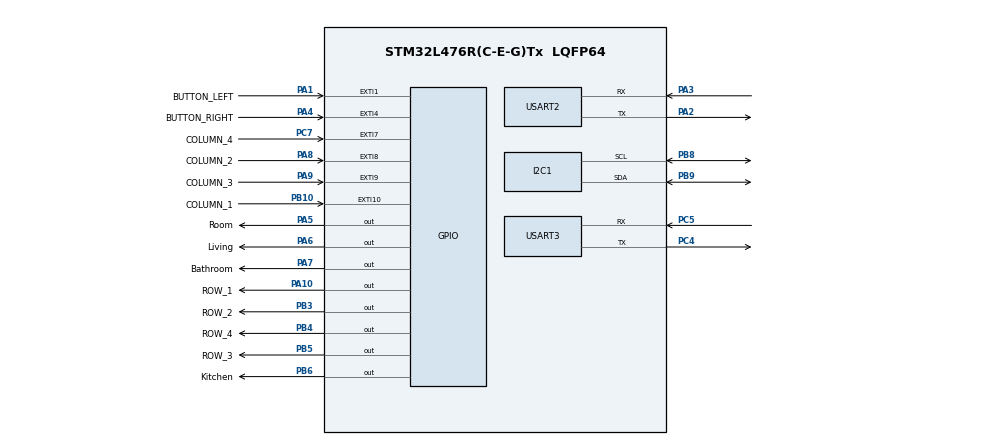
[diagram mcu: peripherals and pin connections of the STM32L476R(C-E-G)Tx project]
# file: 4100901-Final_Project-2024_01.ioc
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Mcu.Family=STM32L4
Mcu.Name=STM32L476R(C-E-G)Tx
Mcu.Package=LQFP64
NVIC.EXTI15_10_IRQn=true\:0\:0\:false\:false\:true\:true\:true\:true
NVIC.EXTI1_IRQn=true\:0\:0\:false\:false\:true\:true\:true\:true
NVIC.EXTI4_IRQn=true\:0\:0\:false\:false\:true\:true\:true\:true
NVIC.EXTI9_5_IRQn=true\:0\:0\:false\:false\:true\:true\:true\:true
NVIC.PriorityGroup=NVIC_PRIORITYGROUP_4
NVIC.USART2_IRQn=true\:0\:0\:false\:false\:true\:true\:true\:true
NVIC.USART3_IRQn=true\:0\:0\:false\:false\:true\:true\:true\:true
PA1.GPIO_Label=BUTTON_LEFT
PA1.GPIO_ModeDefaultEXTI=GPIO_MODE_IT_FALLING
PA1.GPIO_PuPd=GPIO_PULLUP
PA1.Signal=GPXTI1
PA10.GPIO_Label=ROW_1
PA10.GPIO_ModeDefaultOutputPP=GPIO_MODE_OUTPUT_PP
PA10.GPIO_Speed=GPIO_SPEED_FREQ_HIGH
PA10.PinState=GPIO_PIN_SET
PA10.Signal=GPIO_Output
PA2.Mode=Asynchronous
PA2.Signal=USART2_TX
PA3.Mode=Asynchronous
PA3.Signal=USART2_RX
PA4.GPIO_Label=BUTTON_RIGHT
PA4.GPIO_ModeDefaultEXTI=GPIO_MODE_IT_FALLING
PA4.GPIO_PuPd=GPIO_PULLUP
PA4.Signal=GPXTI4
PA5.GPIO_Label=Room
PA5.PinState=GPIO_PIN_SET
PA5.Signal=GPIO_Output
PA6.GPIO_Label=Living
PA6.PinState=GPIO_PIN_SET
PA6.Signal=GPIO_Output
PA7.GPIO_Label=Bathroom
PA7.PinState=GPIO_PIN_SET
PA7.Signal=GPIO_Output
PA8.GPIO_Label=COLUMN_2
PA8.GPIO_PuPd=GPIO_PULLDOWN
PA8.Signal=GPXTI8
PA9.GPIO_Label=COLUMN_3
PA9.GPIO_PuPd=GPIO_PULLDOWN
PA9.Signal=GPXTI9
PB10.GPIO_Label=COLUMN_1
PB10.GPIO_PuPd=GPIO_PULLDOWN
PB10.Signal=GPXTI10
PB3\ (JTDO-TRACESWO).GPIO_Label=ROW_2
PB3\ (JTDO-TRACESWO).GPIO_ModeDefaultOutputPP=GPIO_MODE_OUTPUT_PP
PB3\ (JTDO-TRACESWO).GPIO_Speed=GPIO_SPEED_FREQ_HIGH
PB3\ (JTDO-TRACESWO).PinState=GPIO_PIN_SET
PB3\ (JTDO-TRACESWO).Signal=GPIO_Output
PB4\ (NJTRST).GPIO_Label=ROW_4
PB4\ (NJTRST).GPIO_ModeDefaultOutputPP=GPIO_MODE_OUTPUT_PP
PB4\ (NJTRST).GPIO_Speed=GPIO_SPEED_FREQ_HIGH
PB4\ (NJTRST).PinState=GPIO_PIN_SET
PB4\ (NJTRST).Signal=GPIO_Output
PB5.GPIO_Label=ROW_3
PB5.GPIO_ModeDefaultOutputPP=GPIO_MODE_OUTPUT_PP
PB5.GPIO_Speed=GPIO_SPEED_FREQ_HIGH
PB5.PinState=GPIO_PIN_SET
PB5.Signal=GPIO_Output
PB6.GPIO_Label=Kitchen
PB6.PinState=GPIO_PIN_SET
PB6.Signal=GPIO_Output
PB8.Mode=I2C
PB8.Signal=I2C1_SCL
PB9.Mode=I2C
PB9.Signal=I2C1_SDA
PC4.Mode=Asynchronous
PC4.Signal=USART3_TX
PC5.Mode=Asynchronous
PC5.Signal=USART3_RX
PC7.GPIO_Label=COLUMN_4
PC7.GPIO_PuPd=GPIO_PULLDOWN
PC7.Signal=GPXTI7
ProjectManager.HeapSize=0x200
ProjectManager.StackSize=0x400
ProjectManager.TargetToolchain=STM32CubeIDE
RCC.HSE_VALUE=8000000
RCC.HSI_VALUE=16000000
RCC.LSE_VALUE=32768
RCC.MSI_VALUE=4000000
RCC.VCOOutputFreq_Value=32000000
USART2.VirtualMode-Asynchronous=VM_ASYNC
USART3.VirtualMode-Asynchronous=VM_ASYNC
board=custom

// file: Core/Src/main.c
/* USER CODE BEGIN Header */
/**
  ******************************************************************************
  * @file           : main.c
  * @brief          : Main program body
  ******************************************************************************
  * @attention
  *
  * Copyright (c) 2024 STMicroelectronics.
  * All rights reserved.
  *
  * This software is licensed under terms that can be found in the LICENSE file
  * in the root directory of this software component.
  * If no LICENSE file comes with this software, it is provided AS-IS.
  *
  ******************************************************************************
  */
/* USER CODE END Header */
#include "main.h"

/* USER CODE BEGIN Includes */
#include <stdio.h>
#include <string.h>

#include "ssd1306.h"
#include "ssd1306_fonts.h"

#include "ring_buffer.h"
#include "keypad.h"
/* USER CODE END Includes */

I2C_HandleTypeDef hi2c1;

UART_HandleTypeDef huart2;
UART_HandleTypeDef huart3;

/* USER CODE BEGIN PV */

//variables necesarias  para el buffer
#define USART2_BUFFER_SIZE 4
uint8_t usart2_buffer[USART2_BUFFER_SIZE];
ring_buffer_t usart2_rb;
uint8_t usart2_rx;

//variables necesarias  para el buffer
#define USART3_BUFFER_SIZE 20
uint8_t usart3_buffer[USART3_BUFFER_SIZE];
ring_buffer_t usart3_rb;
uint8_t usart3_rx;

//variables de control de los leds
uint8_t enter = 0;
flag_lights place = NOTHING;
uint8_t key_control = 0;

uint32_t one_last_press_tick = 0;
uint32_t A_last_press_tick = 0;
uint32_t B_last_press_tick = 0;
uint32_t C_last_press_tick = 0;
uint32_t D_last_press_tick = 0;
uint8_t party_mode = 0;
uint8_t off_everything = 0;
uint8_t turn_off_light = 0;
uint8_t off_control = 0;
/* USER CODE END PV */

void SystemClock_Config(void);
static void MX_GPIO_Init(void);
static void MX_I2C1_Init(void);
static void MX_USART2_UART_Init(void);
static void MX_USART3_UART_Init(void);

/* USER CODE BEGIN 0 */
int _write(int file, char *ptr, int len)
{
  HAL_UART_Transmit(&huart2, (uint8_t *)ptr, len, 10);
  return len;
}

void HAL_UART_RxCpltCallback(UART_HandleTypeDef *huart)
{
  /* Data received in USART2 */
  if (huart->Instance == USART2) {
	  usart2_rx = USART2->RDR; // leyendo el byte recibido de USART2
	  ring_buffer_write(&usart2_rb, usart2_rx); // put the data received in buffer
	  //HAL_UART_Receive_IT(&huart2, &usart2_rx, 1); // enable interrupt to continue receiving
	  ATOMIC_SET_BIT(USART2->CR1, USART_CR1_RXNEIE); // usando un funcion mas liviana para reducir memoria
  }

  /* Data received in USART3 */
    if (huart->Instance == USART3) {
  	  usart3_rx = USART3->RDR;
  	  ring_buffer_write(&usart3_rb, usart3_rx);
  	  ATOMIC_SET_BIT(USART3->CR1, USART_CR1_RXNEIE);
    }
}

void HAL_GPIO_EXTI_Callback(uint16_t GPIO_Pin)
{

	uint8_t key_pressed = keypad_scan(GPIO_Pin);

	if (key_pressed != 0xFF) {
			//la tecla # funciona commo enter
			if(key_pressed == '#'){
				printf("ENTER: %c\r\n", key_pressed);
				enter = 1;

				uint8_t size = ring_buffer_size(&usart3_rb);
							uint8_t room[size]; //se almacenan los datos
							uint8_t lee;

							uint8_t len_room = 0;

							uint8_t status[size-len_room];

							for (uint8_t i = 0; i <= size; i++){
								ring_buffer_read(&usart3_rb, &lee);

								if(lee == ':'){
									room[i] = 0;
									len_room = i;
									break;
								}

								room[i] = lee;
							};

							for (uint8_t i = 0; i <= size-len_room; i++){
								ring_buffer_read(&usart3_rb, &lee);

								status[i] = lee;
							}

							status[size-len_room-1] = 0;

							printf("DATA: %s\r\n", room);
							printf("STATUS: %s\r\n", status);

			return;
				//la tecla * funciona como reset
			}else if(key_pressed == '*'){
				ring_buffer_reset(&usart2_rb);
				printf("RESET: enter again %c\r\n", key_pressed);

				// Reseteamos el mensaje igualmente:
				ssd1306_FillRectangle(37, 50, 97, 20, Black);
				ssd1306_SetCursor(45, 30);
				ssd1306_WriteString("Hello!", Font_7x10, White);
				ssd1306_UpdateScreen();
				off_everything = 1;
				return;
			}

			//lógica para encendido y apagado de los leds
			if(key_pressed == 'A'){
				if (HAL_GetTick() < (A_last_press_tick + 500)) { // si la última pulsación fue antes de los 500ms
					turn_off_light = LUZ_A;
					off_control = 1;

				}else{
					place = LUZ_A;
					key_control = 1;
				}
				A_last_press_tick = HAL_GetTick();
			}

			if(key_pressed == 'B'){
				if (HAL_GetTick() < (B_last_press_tick + 500)) {
					turn_off_light = LUZ_B;
					off_control = 1;
				}else{
					place = LUZ_B;
					key_control = 1;
				}
				B_last_press_tick = HAL_GetTick();
			}

			if(key_pressed == 'C'){
				if (HAL_GetTick() < (C_last_press_tick + 500)) {
					turn_off_light = LUZ_C;
					off_control = 1;
				}else{
					place = LUZ_C;
					key_control = 1;
				}
				C_last_press_tick = HAL_GetTick();
			}

			if(key_pressed == 'D'){
				if (HAL_GetTick() < (D_last_press_tick + 500)) {
					turn_off_light = LUZ_D;
					off_control = 1;
				}else{
					place = LUZ_D;
					key_control = 1;
				}
				D_last_press_tick = HAL_GetTick();
			}

			printf("Pressed: %c\r\n", key_pressed);
			ring_buffer_write(&usart2_rb, key_pressed);

			return;
	}

}

//funcion para el ahorro de energía
void low_power_mode()
{
#define AWAKE_TIME (10 * 1000) // 10 segundos
	static uint32_t sleep_tick = AWAKE_TIME;

	if (sleep_tick > HAL_GetTick()) {
		return;
	}
	printf("Sleeping\r\n");
	sleep_tick = HAL_GetTick() + AWAKE_TIME;

	RCC->AHB1SMENR  = 0x0;
	RCC->AHB2SMENR  = 0x0;
	RCC->AHB3SMENR  = 0x0;

	RCC->APB1SMENR1 = 0x0;
	RCC->APB1SMENR2 = 0x0;
	RCC->APB2SMENR  = 0x0;

	/*Suspend Tick increment to prevent wakeup by Systick interrupt.
	Otherwise the Systick interrupt will wake up the device within 1ms (HAL time base)*/
	HAL_SuspendTick();

	/* Enter Sleep Mode , wake up is done once User push-button is pressed */
	HAL_PWR_EnterSLEEPMode(PWR_MAINREGULATOR_ON, PWR_SLEEPENTRY_WFI);

	/* Resume Tick interrupt if disabled prior to SLEEP mode entry */
	HAL_ResumeTick();

	printf("Awake\r\n");
}

/* USER CODE END 0 */

int main(void)
{

  /* MCU Configuration--------------------------------------------------------*/

  /* Reset of all peripherals, Initializes the Flash interface and the Systick. */
  HAL_Init();

  /* Configure the system clock */
  SystemClock_Config();

  /* Initialize all configured peripherals */
  MX_GPIO_Init();
  MX_I2C1_Init();
  MX_USART2_UART_Init();
  MX_USART3_UART_Init();
  /* USER CODE BEGIN 2 */

  ssd1306_Init();
  ssd1306_FillRectangle(37, 50, 97, 20, Black);
  ssd1306_SetCursor(40, 30);
  ssd1306_WriteString("Welcome!", Font_7x10, White);
  ssd1306_UpdateScreen();

ring_buffer_init(&usart2_rb, usart2_buffer, USART2_BUFFER_SIZE);
ring_buffer_init(&usart3_rb, usart3_buffer, USART3_BUFFER_SIZE);
  /* USER CODE END 2 */

  /* Infinite loop */
  /* USER CODE BEGIN WHILE */
  printf("Starting...\r\n");
  //HAL_UART_Receive_IT(&huart2, &usart2_rx, 1); // enable interrupt for USART2 Rx
  ATOMIC_SET_BIT(USART2->CR1, USART_CR1_RXNEIE); // usando un funcion mas liviana para reducir memoria
  ATOMIC_SET_BIT(USART3->CR1, USART_CR1_RXNEIE);

  //variables de control
  uint8_t cont = 0; //contador para el parpadeo de los leds
  uint8_t toggle = 0; //toggles necesarios para el parpadeo de los leds
  uint8_t lights_correct_password = 0;//bandera que indica que la contraseña es correcta y se pueden encender las luces

  while (1) {

	 if (enter == 1) { //revisa si se hizo enter para verificar la clave ingresada
		  printf("Received:\r\n");
		  while (ring_buffer_is_empty(&usart2_rb) == 0) {
			  uint8_t data[4]; //se almacenan los datos de la clave recibida
			  uint8_t read;

			  for (uint8_t i = 0; i <= 4; i++){
				  ring_buffer_read(&usart2_rb, &read);
				  data[i] = read; //se leen los datos
			  };

			  if(right_password(data)){ //se verifica si se ingresó la clave correcta
				  cont = 0;
				  toggle = 0;
				  lights_correct_password = 1;
				  //menú de instrucciones
				  messages();

				  // Si hay algo escrito, se borra:
				  ssd1306_FillRectangle(37, 50, 97, 20, Black);
				  ssd1306_SetCursor(40, 30);
				  ssd1306_UpdateScreen();

				  // Se escribe el mensaje
				  ssd1306_WriteString("Welcome!", Font_7x10, White);
				  ssd1306_UpdateScreen();

			  }else{ //si la clave es incorrecta
				  printf("Alerta!\r\n");

				  ssd1306_FillRectangle(37, 50, 97, 20, Black);
				  ssd1306_SetCursor(45, 30);
				  ssd1306_UpdateScreen();

				  ssd1306_WriteString("Alerta!", Font_7x10, White);
				  ssd1306_UpdateScreen();

				  // Se enciende el led 3 veces si la contraseña es incorrecta:
				  cont = 1;
				  toggle = 6;
			  }
		  }
	  		  printf("\r\n");
	  		  enter = 0;
	  		  place = 0;
	  	  }

	  if(cont == 1){
		  cont = blinking_led_ret(&toggle);
		  }

	  //si la clave es correcta y la bandera de control de las teclas está activada, se enciende la luz correspondiente
	  if(lights_correct_password == 1 && key_control == 1 && off_control==0){

	  		uint8_t message_on = light_on(place, &huart3);

	  		key_control = 0;

	  		switch(message_on){
				case 1:
				  //HAL_UART_Transmit(&huart3, "bedroom:1", 11, 10);

				  ssd1306_FillRectangle(37, 50, 97, 20, Black);
				  ssd1306_SetCursor(45, 30);
				  ssd1306_UpdateScreen();

				  ssd1306_WriteString("Room on", Font_7x10, White);
				  ssd1306_UpdateScreen();

				  //HAL_UART_Transmit(&huart3, "bedroom:1", 9, 10);
				 break;

				case 2:
					//HAL_UART_Transmit(&huart3, "living:1", 11, 10);

				 ssd1306_FillRectangle(37, 50, 97, 20, Black);
				  ssd1306_SetCursor(45, 30);
				  ssd1306_UpdateScreen();

				  ssd1306_WriteString("Living on", Font_7x10, White);
				  ssd1306_UpdateScreen();
				break;

				case 3:
					//HAL_UART_Transmit(&huart3, "bathroom:1", 11, 10);

				 ssd1306_FillRectangle(37, 50, 97, 20, Black);
				  ssd1306_SetCursor(45, 30);
				  ssd1306_UpdateScreen();

				  ssd1306_WriteString("Bathroom on", Font_7x10, White);
				  ssd1306_UpdateScreen();
				break;

				case 4:
					//HAL_UART_Transmit(&huart3, "kitchen:1", 11, 10);

				 ssd1306_FillRectangle(37, 50, 97, 20, Black);
				  ssd1306_SetCursor(45, 30);
				  ssd1306_UpdateScreen();

				  ssd1306_WriteString("Kitchen on", Font_7x10, White);
				  ssd1306_UpdateScreen();
				  break;
	  			}
	  }
	  //se apaga la luz activada después de 5 segundos
		  turn_off_with_time();

	  //apagar la luz correspndiente
	  if(off_control == 1){
		  turn_off(turn_off_light, &huart3);
		  off_control = 0;
	  }

	  //todas las luces se apagan al dar reset * y el sistema se suspende
	  if(off_everything == 1 && lights_correct_password == 1){
		  turn_off_completely();
		  off_everything = 0;
		  low_power_mode();
	  }

	  if(lights_correct_password == 1){

	  }

    /* USER CODE END WHILE */

  }
}

void SystemClock_Config(void)
{
  RCC_OscInitTypeDef RCC_OscInitStruct = {0};
  RCC_ClkInitTypeDef RCC_ClkInitStruct = {0};

  /** Configure the main internal regulator output voltage
  */
  if (HAL_PWREx_ControlVoltageScaling(PWR_REGULATOR_VOLTAGE_SCALE1) != HAL_OK)
  {
    Error_Handler();
  }

  /** Initializes the RCC Oscillators according to the specified parameters
  * in the RCC_OscInitTypeDef structure.
  */
  RCC_OscInitStruct.OscillatorType = RCC_OSCILLATORTYPE_MSI;
  RCC_OscInitStruct.MSIState = RCC_MSI_ON;
  RCC_OscInitStruct.MSICalibrationValue = 0;
  RCC_OscInitStruct.MSIClockRange = RCC_MSIRANGE_6;
  RCC_OscInitStruct.PLL.PLLState = RCC_PLL_NONE;
  if (HAL_RCC_OscConfig(&RCC_OscInitStruct) != HAL_OK)
  {
    Error_Handler();
  }

  /** Initializes the CPU, AHB and APB buses clocks
  */
  RCC_ClkInitStruct.ClockType = RCC_CLOCKTYPE_HCLK|RCC_CLOCKTYPE_SYSCLK
                              |RCC_CLOCKTYPE_PCLK1|RCC_CLOCKTYPE_PCLK2;
  RCC_ClkInitStruct.SYSCLKSource = RCC_SYSCLKSOURCE_MSI;
  RCC_ClkInitStruct.AHBCLKDivider = RCC_SYSCLK_DIV1;
  RCC_ClkInitStruct.APB1CLKDivider = RCC_HCLK_DIV1;
  RCC_ClkInitStruct.APB2CLKDivider = RCC_HCLK_DIV1;

  if (HAL_RCC_ClockConfig(&RCC_ClkInitStruct, FLASH_LATENCY_0) != HAL_OK)
  {
    Error_Handler();
  }
}

static void MX_I2C1_Init(void)
{

  hi2c1.Instance = I2C1;
  hi2c1.Init.Timing = 0x00000E14;
  hi2c1.Init.OwnAddress1 = 0;
  hi2c1.Init.AddressingMode = I2C_ADDRESSINGMODE_7BIT;
  hi2c1.Init.DualAddressMode = I2C_DUALADDRESS_DISABLE;
  hi2c1.Init.OwnAddress2 = 0;
  hi2c1.Init.OwnAddress2Masks = I2C_OA2_NOMASK;
  hi2c1.Init.GeneralCallMode = I2C_GENERALCALL_DISABLE;
  hi2c1.Init.NoStretchMode = I2C_NOSTRETCH_DISABLE;
  if (HAL_I2C_Init(&hi2c1) != HAL_OK)
  {
    Error_Handler();
  }

  /** Configure Analogue filter
  */
  if (HAL_I2CEx_ConfigAnalogFilter(&hi2c1, I2C_ANALOGFILTER_ENABLE) != HAL_OK)
  {
    Error_Handler();
  }

  /** Configure Digital filter
  */
  if (HAL_I2CEx_ConfigDigitalFilter(&hi2c1, 0) != HAL_OK)
  {
    Error_Handler();
  }

}

static void MX_USART2_UART_Init(void)
{

  huart2.Instance = USART2;
  huart2.Init.BaudRate = 115200;
  huart2.Init.WordLength = UART_WORDLENGTH_8B;
  huart2.Init.StopBits = UART_STOPBITS_1;
  huart2.Init.Parity = UART_PARITY_NONE;
  huart2.Init.Mode = UART_MODE_TX_RX;
  huart2.Init.HwFlowCtl = UART_HWCONTROL_NONE;
  huart2.Init.OverSampling = UART_OVERSAMPLING_16;
  huart2.Init.OneBitSampling = UART_ONE_BIT_SAMPLE_DISABLE;
  huart2.AdvancedInit.AdvFeatureInit = UART_ADVFEATURE_NO_INIT;
  if (HAL_UART_Init(&huart2) != HAL_OK)
  {
    Error_Handler();
  }

}

static void MX_USART3_UART_Init(void)
{

  huart3.Instance = USART3;
  huart3.Init.BaudRate = 115200;
  huart3.Init.WordLength = UART_WORDLENGTH_8B;
  huart3.Init.StopBits = UART_STOPBITS_1;
  huart3.Init.Parity = UART_PARITY_NONE;
  huart3.Init.Mode = UART_MODE_TX_RX;
  huart3.Init.HwFlowCtl = UART_HWCONTROL_NONE;
  huart3.Init.OverSampling = UART_OVERSAMPLING_16;
  huart3.Init.OneBitSampling = UART_ONE_BIT_SAMPLE_DISABLE;
  huart3.AdvancedInit.AdvFeatureInit = UART_ADVFEATURE_NO_INIT;
  if (HAL_UART_Init(&huart3) != HAL_OK)
  {
    Error_Handler();
  }

}

static void MX_GPIO_Init(void)
{
  GPIO_InitTypeDef GPIO_InitStruct = {0};

  /* GPIO Ports Clock Enable */
  __HAL_RCC_GPIOA_CLK_ENABLE();
  __HAL_RCC_GPIOC_CLK_ENABLE();
  __HAL_RCC_GPIOB_CLK_ENABLE();

  /*Configure GPIO pin Output Level */
  HAL_GPIO_WritePin(GPIOA, Room_Pin|Living_Pin|Bathroom_Pin|ROW_1_Pin, GPIO_PIN_SET);

  /*Configure GPIO pin Output Level */
  HAL_GPIO_WritePin(GPIOB, ROW_2_Pin|ROW_4_Pin|ROW_3_Pin|Kitchen_Pin, GPIO_PIN_SET);

  /*Configure GPIO pins : BUTTON_LEFT_Pin BUTTON_RIGHT_Pin */
  GPIO_InitStruct.Pin = BUTTON_LEFT_Pin|BUTTON_RIGHT_Pin;
  GPIO_InitStruct.Mode = GPIO_MODE_IT_FALLING;
  GPIO_InitStruct.Pull = GPIO_PULLUP;
  HAL_GPIO_Init(GPIOA, &GPIO_InitStruct);

  /*Configure GPIO pins : Room_Pin Living_Pin Bathroom_Pin */
  GPIO_InitStruct.Pin = Room_Pin|Living_Pin|Bathroom_Pin;
  GPIO_InitStruct.Mode = GPIO_MODE_OUTPUT_PP;
  GPIO_InitStruct.Pull = GPIO_NOPULL;
  GPIO_InitStruct.Speed = GPIO_SPEED_FREQ_LOW;
  HAL_GPIO_Init(GPIOA, &GPIO_InitStruct);

  /*Configure GPIO pin : COLUMN_1_Pin */
  GPIO_InitStruct.Pin = COLUMN_1_Pin;
  GPIO_InitStruct.Mode = GPIO_MODE_IT_RISING;
  GPIO_InitStruct.Pull = GPIO_PULLDOWN;
  HAL_GPIO_Init(COLUMN_1_GPIO_Port, &GPIO_InitStruct);

  /*Configure GPIO pin : COLUMN_4_Pin */
  GPIO_InitStruct.Pin = COLUMN_4_Pin;
  GPIO_InitStruct.Mode = GPIO_MODE_IT_RISING;
  GPIO_InitStruct.Pull = GPIO_PULLDOWN;
  HAL_GPIO_Init(COLUMN_4_GPIO_Port, &GPIO_InitStruct);

  /*Configure GPIO pins : COLUMN_2_Pin COLUMN_3_Pin */
  GPIO_InitStruct.Pin = COLUMN_2_Pin|COLUMN_3_Pin;
  GPIO_InitStruct.Mode = GPIO_MODE_IT_RISING;
  GPIO_InitStruct.Pull = GPIO_PULLDOWN;
  HAL_GPIO_Init(GPIOA, &GPIO_InitStruct);

  /*Configure GPIO pin : ROW_1_Pin */
  GPIO_InitStruct.Pin = ROW_1_Pin;
  GPIO_InitStruct.Mode = GPIO_MODE_OUTPUT_PP;
  GPIO_InitStruct.Pull = GPIO_NOPULL;
  GPIO_InitStruct.Speed = GPIO_SPEED_FREQ_HIGH;
  HAL_GPIO_Init(ROW_1_GPIO_Port, &GPIO_InitStruct);

  /*Configure GPIO pins : ROW_2_Pin ROW_4_Pin ROW_3_Pin */
  GPIO_InitStruct.Pin = ROW_2_Pin|ROW_4_Pin|ROW_3_Pin;
  GPIO_InitStruct.Mode = GPIO_MODE_OUTPUT_PP;
  GPIO_InitStruct.Pull = GPIO_NOPULL;
  GPIO_InitStruct.Speed = GPIO_SPEED_FREQ_HIGH;
  HAL_GPIO_Init(GPIOB, &GPIO_InitStruct);

  /*Configure GPIO pin : Kitchen_Pin */
  GPIO_InitStruct.Pin = Kitchen_Pin;
  GPIO_InitStruct.Mode = GPIO_MODE_OUTPUT_PP;
  GPIO_InitStruct.Pull = GPIO_NOPULL;
  GPIO_InitStruct.Speed = GPIO_SPEED_FREQ_LOW;
  HAL_GPIO_Init(Kitchen_GPIO_Port, &GPIO_InitStruct);

  /* EXTI interrupt init*/
  HAL_NVIC_SetPriority(EXTI1_IRQn, 0, 0);
  HAL_NVIC_EnableIRQ(EXTI1_IRQn);

  HAL_NVIC_SetPriority(EXTI4_IRQn, 0, 0);
  HAL_NVIC_EnableIRQ(EXTI4_IRQn);

  HAL_NVIC_SetPriority(EXTI9_5_IRQn, 0, 0);
  HAL_NVIC_EnableIRQ(EXTI9_5_IRQn);

  HAL_NVIC_SetPriority(EXTI15_10_IRQn, 0, 0);
  HAL_NVIC_EnableIRQ(EXTI15_10_IRQn);

}

void Error_Handler(void)
{
  __disable_irq();
  while (1)
  {
  }
}
